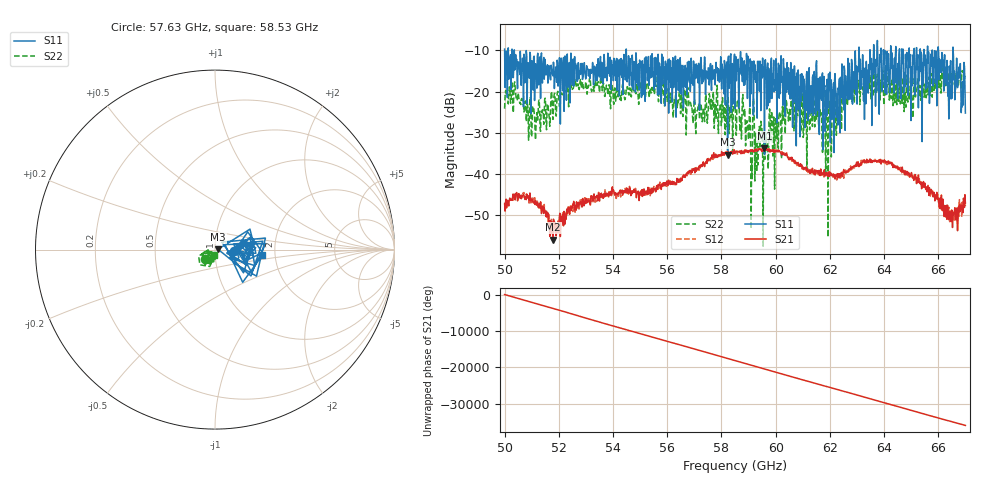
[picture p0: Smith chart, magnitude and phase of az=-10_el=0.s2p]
!Created with skrf (http://scikit-rf.org).
# GHz S RI R 50.0
!freq ReS11 ImS11 ReS21 ImS21 ReS12 ImS12 ReS22 ImS22
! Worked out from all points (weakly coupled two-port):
!   1001 points, 50 GHz to 67 GHz, reference 50 ohm
!   highest |S21| = -33.77 dB at 59.59 GHz (marker M1); lowest = -56.0 dB at 51.78 GHz (marker M2)
!   lowest |S11| = -35.4 dB at 58.23 GHz (marker M3), VSWR 1.03, Z = 51.7 + j0.177 ohm
!   |S11| at or under -10 dB: 50.36 GHz to 54.49 GHz (4.129 GHz wide, 7.88 % of centre); 54.49 GHz to 63.07 GHz (8.581 GHz wide, 14.6 % of centre); 66.01 GHz to 66.54 GHz (531.8 MHz wide, 0.802 % of centre) (the widest 3 of 26)
!   |S22| runs from -57.6 to -13.9 dB; largest |S21 - S12| = 0.0025
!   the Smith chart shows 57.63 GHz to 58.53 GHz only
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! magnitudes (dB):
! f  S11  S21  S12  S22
! 50 GHz  -9.7  -47.2  -48.2  -24.1
! 50.42 GHz  -13.3  -44.9  -45.4  -21.4
! 51.07 GHz  -11.7  -47.1  -47.4  -23.8
! 51.78 GHz  -16.2  -56.0  -51.8  -26.7
! 52.84 GHz  -13.9  -47.3  -46.3  -19.2
! 55.68 GHz  -13.4  -42.8  -42.3  -22.4
! 58.23 GHz  -35.4  -34.6  -34.4  -22.9
! 58.5 GHz  -24.1  -35.0  -35.0  -23.8
! 59.59 GHz  -35.3  -33.8  -34.1  -29.6
! 59.84 GHz  -11.9  -34.5  -34.2  -25.2
! 60.34 GHz  -14.3  -35.2  -35.1  -25.5
! 61.34 GHz  -25.2  -39.8  -39.6  -25.9
! 62 GHz  -15.3  -40.3  -39.9  -25.2
! 62.55 GHz  -14.9  -39.3  -39.5  -19.4
! 63.12 GHz  -12.1  -37.9  -37.4  -20.2
! 63.33 GHz  -23.0  -37.0  -37.1  -19.2
! 63.69 GHz  -23.5  -36.8  -36.6  -16.3
! 64.18 GHz  -17.6  -37.5  -37.1  -18.5
! 66.08 GHz  -14.8  -48.5  -48.3  -15.7
! 66.42 GHz  -15.4  -49.2  -51.6  -16.2
! 66.75 GHz  -16.6  -48.1  -48.1  -18.4
! 67 GHz  -25.2  -47.1  -47.9  -15.6
